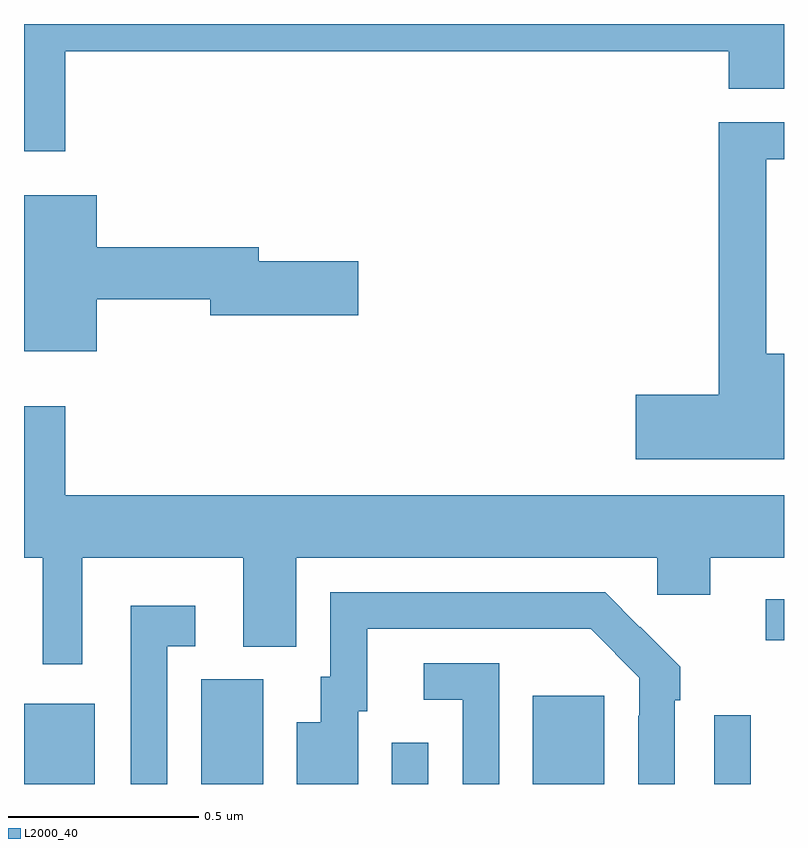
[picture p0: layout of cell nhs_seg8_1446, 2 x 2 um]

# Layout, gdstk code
import gdstk
lib = gdstk.Library(unit=1e-6, precision=1e-09)
def R(c, l, rs):  # rectangles x0, y0, x1, y1
    for r in rs: c.add(gdstk.rectangle(r[:2], r[2:], *l))
def P(c, l, *ps):  # polygons
    for p in ps: c.add(gdstk.Polygon(p, *l))
L2000_40 = (2000, 40)

nhs_seg8_1446 = lib.new_cell('nhs_seg8_1446')
R(nhs_seg8_1446, L2000_40, [(130,1119.9,130.186,1120.111), (130.466,1119.9,130.63,1120.176), (130.968,1119.9,131.064,1120.009), (131.339,1119.9,131.527,1120.132), (131.817,1119.9,131.913,1120.081), (131.952,1120.278,132,1120.386)])
P(nhs_seg8_1446, L2000_40, [(130,1121.565),(130.109,1121.565),(130.109,1121.828),(131.855,1121.828),(131.855,1121.729),(132,1121.729),(132,1121.9),(130,1121.9)],
  [(132,1121.032),(131.953,1121.032),(131.953,1121.544),(132,1121.544),(132,1121.642),(131.828,1121.642),(131.828,1120.925),(131.61,1120.925),(131.61,1120.754),(132,1120.754)],
  [(130.192,1121.176),(130.49,1121.176),(130.49,1121.134),(130.879,1121.134),(130.879,1121.276),(130.618,1121.276),(130.618,1121.312),(130.192,1121.312),(130.192,1121.449),(130,1121.449),(130,1121.039),(130.192,1121.039)],
  [(130.109,1120.894),(130,1120.894),(130,1120.496),(130.049,1120.496),(130.049,1120.215),(130.153,1120.215),(130.153,1120.496),(130.577,1120.496),(130.577,1120.261),(130.717,1120.261),(130.717,1120.496),(131.667,1120.496),(131.667,1120.398),(131.806,1120.398),(131.806,1120.496),(132,1120.496),(132,1120.66),(130.109,1120.66)],
  [(130.879,1120.092),(130.903,1120.092),(130.903,1120.308),(131.491,1120.308),(131.619,1120.179),(131.619,1120.079),(131.616,1120.079),(131.616,1119.9),(131.712,1119.9),(131.712,1120.121),(131.727,1120.121),(131.727,1120.209),(131.622,1120.314),(131.621,1120.313),(131.53,1120.404),(130.806,1120.404),(130.806,1120.182),(130.781,1120.182),(130.781,1120.063),(130.718,1120.063),(130.718,1119.9),(130.879,1119.9)],
  [(130.377,1120.263),(130.45,1120.263),(130.45,1120.369),(130.281,1120.369),(130.281,1119.9),(130.377,1119.9)],
  [(131.25,1120.218),(131.052,1120.218),(131.052,1120.122),(131.154,1120.122),(131.154,1119.9),(131.25,1119.9)])

lib.write_gds('nhs_seg8_1446.gds')
